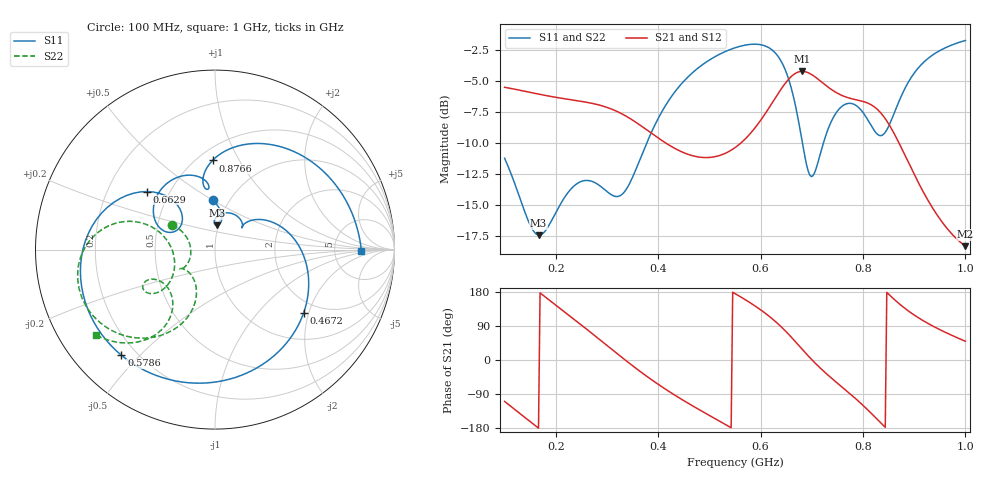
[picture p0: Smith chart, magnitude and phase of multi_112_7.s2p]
! Created with skrf (http://scikit-rf.org).
# MHz S RI R 376.73031366686166
!freq ReS11 ImS11 ReS21 ImS21 ReS12 ImS12 ReS22 ImS22
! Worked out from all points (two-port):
!   300 points, 100 MHz to 1 GHz, reference 376.73 ohm
!   highest |S21| = -4.25 dB at 680.9 MHz (marker M1); lowest = -18.3 dB at 1 GHz (marker M2)
!   |S21| within 3 dB of the highest: start of sweep to 307.2 MHz; 615.3 MHz to 826.7 MHz (211.3 MHz wide, 29.3 % of centre)
!   lowest |S11| = -17.4 dB at 166.2 MHz (marker M3), VSWR 1.31, Z = 371 + j102 ohm
!   |S11| at or under -10 dB: start of sweep to 377.6 MHz; 681.7 MHz to 722.7 MHz (40.97 MHz wide, 5.83 % of centre)
!   |S22| runs from -17.4 to -1.8 dB; largest |S21 - S12| = 2.3e-15
!   S11 on the Smith chart (normalised r, x): 100 MHz: 0.84, +0.50; 467.2 MHz: 1.67, -1.85; 578.6 MHz: 0.14, -0.44; 662.9 MHz: 0.38, +0.32; 876.6 MHz: 0.59, +0.78; 1 GHz: 9.83, -0.59
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100  -0.0135 0.2743  -0.1747 -0.4997  -0.1747 -0.4997  -0.2389 0.1354
133.1104  0.0383 0.1779  -0.4193 -0.2962  -0.4193 -0.2962  -0.1643 0.0782
166.2207  0.0111 0.1345  -0.497 -0.00216  -0.497 -0.00216  -0.1349 -0.00252
211.3712  0.0095 0.1829  -0.326 0.3496  -0.326 0.3496  -0.1604 -0.0884
250.5017  0.0938 0.2012  -0.0141 0.4642  -0.0141 0.4642  -0.1934 -0.1089
322.7425  0.1493 0.1227  0.4084 0.0995  0.4084 0.0995  -0.1355 -0.1377
401.0033  0.3829 0.117  0.139 -0.2996  0.139 -0.2996  -0.1492 -0.3716
467.2241  0.4945 -0.3508  -0.1449 -0.2408  -0.1449 -0.2408  -0.3568 -0.4902
515.3846  0.1757 -0.6883  -0.2597 -0.1048  -0.2597 -0.1048  -0.533 -0.4697
551.505  -0.2221 -0.7312  -0.3029 0.031  -0.3029 0.031  -0.6551 -0.3935
578.5953  -0.5215 -0.5887  -0.3024 0.1615  -0.3024 0.1615  -0.7294 -0.2942
620.7358  -0.7482 -0.0771  -0.1623 0.4215  -0.1623 0.4215  -0.7506 -0.0482
662.8763  -0.378 0.3235  0.3313 0.4905  0.3313 0.4905  -0.4719 0.1577
680.9365  -0.2083 0.2469  0.5376 0.2947  0.5376 0.2947  -0.3083 0.0964
702.0067  -0.2025 0.1159  0.5908 -0.0203  0.5908 -0.0203  -0.2255 -0.0597
735.1171  -0.3352 0.1658  0.3771 -0.3641  0.3771 -0.3641  -0.2971 -0.2271
774.2475  -0.2472 0.3836  0.0115 -0.4782  0.0115 -0.4782  -0.3988 -0.2217
819.398  -0.036 0.3597  -0.3654 -0.2553  -0.3654 -0.2553  -0.3192 -0.1698
852.5084  -0.0669 0.3724  -0.3653 0.0609  -0.3653 0.0609  -0.2351 -0.2964
876.5886  -0.0136 0.497  -0.2343 0.1834  -0.2343 0.1834  -0.272 -0.4161
930.7692  0.4373 0.5474  -0.0113 0.1802  -0.0113 0.1802  -0.4699 -0.5197
1000  0.8159 -0.00999  0.0792 0.0926  0.0792 0.0926  -0.6627 -0.4761
